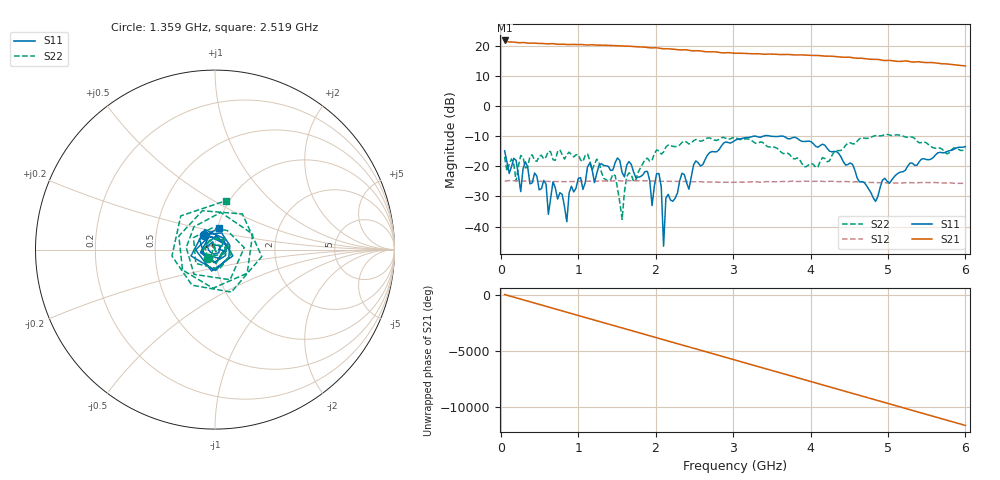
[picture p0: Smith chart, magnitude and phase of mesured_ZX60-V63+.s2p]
#  HZ  S  RI  R  50.00
! Rohde & Schwarz Vector Network Analyzer
! Rohde-Schwarz,ZNB8-4Port,REDACTED,3.12
! Created: UTC 3/23/2026, 8:28:47 PM
! ZX60-V63+
! freq[Hz]  re:S11  im:S11  re:S21  im:S21  re:S12  im:S12  re:S22  im:S22
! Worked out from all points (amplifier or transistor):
!   201 points, 50 MHz to 6 GHz, reference 50 ohm
!   highest |S21| = 21.9 dB at 50 MHz (marker M1)
!   |S21| within 3 dB of that: start of sweep to 2.263 GHz
!   unconditionally stable (mu >= 1): 52.02 MHz to end of sweep
!   at 1.032 GHz: K = 1.11, MAG = 20.7 dB, |S12| = -25.0 dB
!   at 3.025 GHz: K = 1.26, MAG = 18.4 dB, |S12| = -25.2 dB
!   at 6 GHz: K = 2.02, MAG = 13.8 dB, |S12| = -25.7 dB
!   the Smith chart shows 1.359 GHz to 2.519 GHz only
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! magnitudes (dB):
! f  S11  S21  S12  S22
! 50 MHz  -14.8  21.9  -24.9  -16.8
! 258.2 MHz  -28.4  21.2  -24.8  -16.4
! 317.8 MHz  -18.5  21.2  -24.9  -20.5
! 555.8 MHz  -24.7  20.9  -25.0  -17.5
! 615.2 MHz  -35.9  20.8  -25.0  -14.9
! 674.8 MHz  -25.1  20.9  -25.0  -17.7
! 853.2 MHz  -38.4  20.6  -25.1  -16.1
! 912.8 MHz  -26.6  20.6  -25.0  -16.1
! 1.062 GHz  -27.7  20.5  -25.0  -18.4
! 1.478 GHz  -18.7  20.2  -24.8  -23.1
! 1.567 GHz  -22.1  20.1  -24.8  -37.6
! 1.627 GHz  -19.5  20.0  -24.7  -23.5
! 1.895 GHz  -21.7  19.6  -24.9  -17.3
! 1.954 GHz  -33.0  19.4  -24.9  -18.0
! 2.043 GHz  -22.4  19.3  -24.9  -14.9
! 2.103 GHz  -46.5  19.1  -24.9  -15.2
! 2.132 GHz  -30.5  19.1  -24.9  -13.6
! 2.341 GHz  -22.3  18.8  -25.0  -12.0
! 3.025 GHz  -11.3  17.6  -25.2  -10.3
! 4.037 GHz  -12.4  16.9  -25.0  -19.3
! 5.018 GHz  -25.6  15.3  -25.5  -9.5
! 6 GHz  -13.4  13.4  -25.7  -14.0
